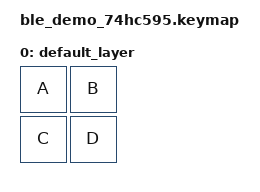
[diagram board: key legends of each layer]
// This file was generated from a template. Edit it to match your keyboard.
// See https://zmk.dev/docs/development/hardware-integration/new-shield for more instructions.

#include <behaviors.dtsi>
#include <dt-bindings/zmk/keys.h>

/ {
    combos {
        compatible = "zmk,combos";


        combo_studio_unlock {
            timeout-ms = <50>;
            require-prior-idle-ms = <50>;
            key-positions = <0 1>;
            bindings = <&studio_unlock>;
        };
    };


    // Define a default keymap here.
    // See https://zmk.dev/docs/development/hardware-integration/new-shield#default-keymap.
    keymap {
        compatible = "zmk,keymap";

        default_layer {
            bindings = <
                &kp A &kp B
                &kp C &kp D
            >;
        };
    };
};
